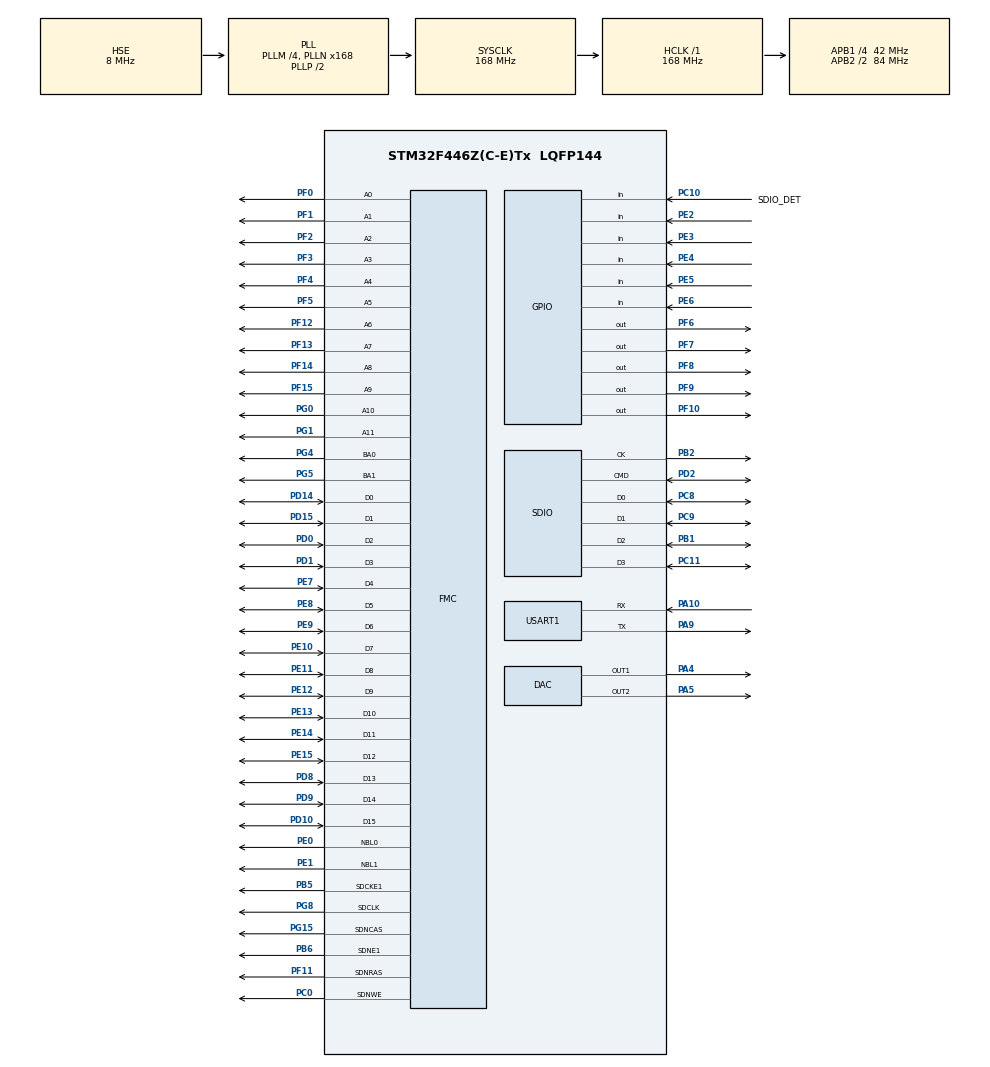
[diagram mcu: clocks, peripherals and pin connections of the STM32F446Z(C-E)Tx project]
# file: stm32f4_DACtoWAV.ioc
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DAC.DAC_Trigger2=DAC_TRIGGER_T6_TRGO
Dma.DAC2.0.Direction=DMA_MEMORY_TO_PERIPH
Dma.DAC2.0.FIFOMode=DMA_FIFOMODE_DISABLE
Dma.DAC2.0.Instance=DMA1_Stream6
Dma.DAC2.0.MemDataAlignment=DMA_MDATAALIGN_BYTE
Dma.DAC2.0.MemInc=DMA_MINC_ENABLE
Dma.DAC2.0.Mode=DMA_CIRCULAR
Dma.DAC2.0.PeriphDataAlignment=DMA_PDATAALIGN_BYTE
Dma.DAC2.0.PeriphInc=DMA_PINC_DISABLE
Dma.DAC2.0.Priority=DMA_PRIORITY_LOW
Dma.Request0=DAC2
FATFS.BSP.number=1
FATFS._MAX_SS=4096
FATFS._USE_LFN=3
FATFS0.BSP.STBoard=false
FATFS0.BSP.api=Unknown
FATFS0.BSP.i2caddr=0
FATFS0.BSP.instance=PC10
FATFS0.BSP.ip=GPIO
FATFS0.BSP.mode=Input
FATFS0.BSP.name=Detect_SDIO
FATFS0.BSP.solution=PC10
FMC.CASLatency1=FMC_SDRAM_CAS_LATENCY_3
FMC.ExitSelfRefreshDelay1=7
FMC.LoadToActiveDelay1=2
FMC.RCDDelay1=2
FMC.RPDelay1=2
FMC.RPDelay2=2
FMC.ReadPipeDelay1=FMC_SDRAM_RPIPE_DELAY_1
FMC.ReadPipeDelay2=FMC_SDRAM_RPIPE_DELAY_1
FMC.RowCycleDelay1=7
FMC.RowCycleDelay2=7
FMC.SDClockPeriod1=FMC_SDRAM_CLOCK_PERIOD_2
FMC.SDClockPeriod2=FMC_SDRAM_CLOCK_PERIOD_2
FMC.SelfRefreshTime1=4
FMC.WriteRecoveryTime1=3
Mcu.Family=STM32F4
Mcu.Name=STM32F446Z(C-E)Tx
Mcu.Package=LQFP144
NVIC.DMA1_Stream6_IRQn=true\:0\:0\:false\:false\:true\:false
NVIC.PriorityGroup=NVIC_PRIORITYGROUP_4
NVIC.TIM4_IRQn=true\:0\:0\:false\:false\:true\:true
NVIC.USART1_IRQn=true\:0\:0\:false\:false\:true\:true
PA10.Mode=Asynchronous
PA10.Signal=USART1_RX
PA4.Signal=COMP_DAC1_group
PA5.Signal=COMP_DAC2_group
PA9.Mode=Asynchronous
PA9.Signal=USART1_TX
PB1.Mode=SD_4_bits_Wide_bus
PB1.Signal=SDIO_D2
PB2.Mode=SD_4_bits_Wide_bus
PB2.Signal=SDIO_CK
PB5.Mode=SdramChipSelect2_1
PB5.Signal=FMC_SDCKE1
PB6.Mode=SdramChipSelect2_1
PB6.Signal=FMC_SDNE1
PC0.Signal=FMC_SDNWE
PC10.GPIO_Label=SDIO_DET
PC10.Signal=GPIO_Input
PC11.Mode=SD_4_bits_Wide_bus
PC11.Signal=SDIO_D3
PC8.Mode=SD_4_bits_Wide_bus
PC8.Signal=SDIO_D0
PC9.Mode=SD_4_bits_Wide_bus
PC9.Signal=SDIO_D1
PD0.Signal=FMC_D2_DA2
PD1.Signal=FMC_D3_DA3
PD10.Signal=FMC_D15_DA15
PD14.Signal=FMC_D0_DA0
PD15.Signal=FMC_D1_DA1
PD2.Mode=SD_4_bits_Wide_bus
PD2.Signal=SDIO_CMD
PD8.Signal=FMC_D13_DA13
PD9.Signal=FMC_D14_DA14
PE0.Signal=FMC_NBL0
PE1.Signal=FMC_NBL1
PE10.Signal=FMC_D7_DA7
PE11.Signal=FMC_D8_DA8
PE12.Signal=FMC_D9_DA9
PE13.Signal=FMC_D10_DA10
PE14.Signal=FMC_D11_DA11
PE15.Signal=FMC_D12_DA12
PE2.Signal=GPIO_Input
PE3.Signal=GPIO_Input
PE4.Signal=GPIO_Input
PE5.Signal=GPIO_Input
PE6.Signal=GPIO_Input
PE7.Signal=FMC_D4_DA4
PE8.Signal=FMC_D5_DA5
PE9.Signal=FMC_D6_DA6
PF0.Signal=FMC_A0
PF1.Signal=FMC_A1
PF10.Signal=GPIO_Output
PF11.Signal=FMC_SDNRAS
PF12.Signal=FMC_A6
PF13.Signal=FMC_A7
PF14.Signal=FMC_A8
PF15.Signal=FMC_A9
PF2.Signal=FMC_A2
PF3.Signal=FMC_A3
PF4.Signal=FMC_A4
PF5.Signal=FMC_A5
PF6.Signal=GPIO_Output
PF7.Signal=GPIO_Output
PF8.Signal=GPIO_Output
PF9.Signal=GPIO_Output
PG0.Signal=FMC_A10
PG1.Signal=FMC_A11
PG15.Signal=FMC_SDNCAS
PG4.Signal=FMC_A14_BA0
PG5.Signal=FMC_A15_BA1
PG8.Signal=FMC_SDCLK
PH0-OSC_IN.Mode=HSE-External-Oscillator
PH0-OSC_IN.Signal=RCC_OSC_IN
PH1-OSC_OUT.Mode=HSE-External-Oscillator
PH1-OSC_OUT.Signal=RCC_OSC_OUT
ProjectManager.HeapSize=0x2000
ProjectManager.StackSize=0x4000
ProjectManager.TargetToolchain=TrueSTUDIO
RCC.AHBFreq_Value=168000000
RCC.APB1CLKDivider=RCC_HCLK_DIV4
RCC.APB1Freq_Value=42000000
RCC.APB1TimFreq_Value=84000000
RCC.APB2CLKDivider=RCC_HCLK_DIV2
RCC.APB2Freq_Value=84000000
RCC.APB2TimFreq_Value=168000000
RCC.CortexFreq_Value=168000000
RCC.HCLKFreq_Value=168000000
RCC.HSE_VALUE=8000000
RCC.PLLM=4
RCC.PLLN=168
RCC.PLLQ=7
RCC.PLLSourceVirtual=RCC_PLLSOURCE_HSE
RCC.SYSCLKFreq_VALUE=168000000
RCC.SYSCLKSource=RCC_SYSCLKSOURCE_PLLCLK
RCC.USBFreq_Value=48000000
RCC.VCOOutputFreq_Value=336000000
SH.COMP_DAC1_group.0=DAC_OUT1,DAC_OUT1
SH.COMP_DAC2_group.0=DAC_OUT2,DAC_OUT2
SH.FMC_A0.0=FMC_A0,12b-sda1
SH.FMC_A1.0=FMC_A1,12b-sda1
SH.FMC_A10.0=FMC_A10,12b-sda1
SH.FMC_A11.0=FMC_A11,12b-sda1
SH.FMC_A14_BA0.0=FMC_BA0,FourSdramBanks1
SH.FMC_A15_BA1.0=FMC_BA1,FourSdramBanks1
SH.FMC_A2.0=FMC_A2,12b-sda1
SH.FMC_A3.0=FMC_A3,12b-sda1
SH.FMC_A4.0=FMC_A4,12b-sda1
SH.FMC_A5.0=FMC_A5,12b-sda1
SH.FMC_A6.0=FMC_A6,12b-sda1
SH.FMC_A7.0=FMC_A7,12b-sda1
SH.FMC_A8.0=FMC_A8,12b-sda1
SH.FMC_A9.0=FMC_A9,12b-sda1
SH.FMC_D0_DA0.0=FMC_D0,sd-16b-d1
SH.FMC_D10_DA10.0=FMC_D10,sd-16b-d1
SH.FMC_D11_DA11.0=FMC_D11,sd-16b-d1
SH.FMC_D12_DA12.0=FMC_D12,sd-16b-d1
SH.FMC_D13_DA13.0=FMC_D13,sd-16b-d1
SH.FMC_D14_DA14.0=FMC_D14,sd-16b-d1
SH.FMC_D15_DA15.0=FMC_D15,sd-16b-d1
SH.FMC_D1_DA1.0=FMC_D1,sd-16b-d1
SH.FMC_D2_DA2.0=FMC_D2,sd-16b-d1
SH.FMC_D3_DA3.0=FMC_D3,sd-16b-d1
SH.FMC_D4_DA4.0=FMC_D4,sd-16b-d1
SH.FMC_D5_DA5.0=FMC_D5,sd-16b-d1
SH.FMC_D6_DA6.0=FMC_D6,sd-16b-d1
SH.FMC_D7_DA7.0=FMC_D7,sd-16b-d1
SH.FMC_D8_DA8.0=FMC_D8,sd-16b-d1
SH.FMC_D9_DA9.0=FMC_D9,sd-16b-d1
SH.FMC_NBL0.0=FMC_NBL0,Sd2ByteEnable1
SH.FMC_NBL1.0=FMC_NBL1,Sd2ByteEnable1
SH.FMC_SDCLK.0=FMC_SDCLK,12b-sda1
SH.FMC_SDNCAS.0=FMC_SDNCAS,12b-sda1
SH.FMC_SDNRAS.0=FMC_SDNRAS,12b-sda1
SH.FMC_SDNWE.0=FMC_SDNWE,12b-sda1
TIM4.Period=20-1
TIM4.Prescaler=19-1
TIM6.Period=10-1
TIM6.Prescaler=84-1
TIM6.TIM_MasterOutputTrigger=TIM_TRGO_UPDATE
USART1.VirtualMode=VM_ASYNC
VP_FATFS_VS_SDIO.Mode=SDIO
VP_TIM4_VS_ClockSourceINT.Mode=Internal
VP_TIM6_VS_ClockSourceINT.Mode=Enable_Timer
board=custom

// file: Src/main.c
/* USER CODE BEGIN Header */
/**
  ******************************************************************************
  * @file           : main.c
  * @brief          : Main program body
  ******************************************************************************
  * This notice applies to any and all portions of this file
  * that are not between comment pairs USER CODE BEGIN and
  * USER CODE END. Other portions of this file, whether
  * inserted by the user or by software development tools
  * are owned by their respective copyright owners.
  *
  * Copyright (c) 2019 STMicroelectronics International N.V.
  * All rights reserved.
  *
  * Redistribution and use in source and binary forms, with or without
  * modification, are permitted, provided that the following conditions are met:
  *
  * 1. Redistribution of source code must retain the above copyright notice,
  *    this list of conditions and the following disclaimer.
  * 2. Redistributions in binary form must reproduce the above copyright notice,
  *    this list of conditions and the following disclaimer in the documentation
  *    and/or other materials provided with the distribution.
  * 3. Neither the name of STMicroelectronics nor the names of other
  *    contributors to this software may be used to endorse or promote products
  *    derived from this software without specific written permission.
  * 4. This software, including modifications and/or derivative works of this
  *    software, must execute solely and exclusively on microcontroller or
  *    microprocessor devices manufactured by or for STMicroelectronics.
  * 5. Redistribution and use of this software other than as permitted under
  *    this license is void and will automatically terminate your rights under
  *    this license.
  *
  * THIS SOFTWARE IS PROVIDED BY STMICROELECTRONICS AND CONTRIBUTORS "AS IS"
  * AND ANY EXPRESS, IMPLIED OR STATUTORY WARRANTIES, INCLUDING, BUT NOT
  * LIMITED TO, THE IMPLIED WARRANTIES OF MERCHANTABILITY, FITNESS FOR A
  * PARTICULAR PURPOSE AND NON-INFRINGEMENT OF THIRD PARTY INTELLECTUAL PROPERTY
  * RIGHTS ARE DISCLAIMED TO THE FULLEST EXTENT PERMITTED BY LAW. IN NO EVENT
  * SHALL STMICROELECTRONICS OR CONTRIBUTORS BE LIABLE FOR ANY DIRECT, INDIRECT,
  * INCIDENTAL, SPECIAL, EXEMPLARY, OR CONSEQUENTIAL DAMAGES (INCLUDING, BUT NOT
  * LIMITED TO, PROCUREMENT OF SUBSTITUTE GOODS OR SERVICES; LOSS OF USE, DATA,
  * OR PROFITS; OR BUSINESS INTERRUPTION) HOWEVER CAUSED AND ON ANY THEORY OF
  * LIABILITY, WHETHER IN CONTRACT, STRICT LIABILITY, OR TORT (INCLUDING
  * NEGLIGENCE OR OTHERWISE) ARISING IN ANY WAY OUT OF THE USE OF THIS SOFTWARE,
  * EVEN IF ADVISED OF THE POSSIBILITY OF SUCH DAMAGE.
  *
  ******************************************************************************
  */
/* USER CODE END Header */

#include "main.h"
#include "fatfs.h"

/* USER CODE BEGIN Includes */
#include <string.h>
#include <stdlib.h>
#include "EMbed_GPIO_General.h"
#include "uart_general.h"

#include "sd_user_code.h"
#include "Drv_SDRAM.h"
#include "WaveHader.h"

/* USER CODE END Includes */

DAC_HandleTypeDef hdac;
DMA_HandleTypeDef hdma_dac2;

SD_HandleTypeDef hsd;

TIM_HandleTypeDef htim4;
TIM_HandleTypeDef htim6;

UART_HandleTypeDef huart1;

SDRAM_HandleTypeDef hsdram1;

/* USER CODE BEGIN PV */
unsigned int Tim4Cnt = 0;
int mainTestArr[100] = {0,};
char mainTestStr[64] = {0,};
int indexDAC = 0;
/* USER CODE END PV */

void SystemClock_Config(void);
static void MX_GPIO_Init(void);
static void MX_DMA_Init(void);
static void MX_DAC_Init(void);
static void MX_USART1_UART_Init(void);
static void MX_SDIO_SD_Init(void);
static void MX_TIM4_Init(void);
static void MX_TIM6_Init(void);
static void MX_FMC_Init(void);

/* USER CODE BEGIN 0 */
void HAL_TIM_PeriodElapsedCallback(TIM_HandleTypeDef *htim)
{

	if(htim->Instance == TIM4){
//		Tim4Cnt++;
//
//		if(Tim4Cnt >= 10){

			if(indexDAC >= 100){
				indexDAC = 0;
			}
			HAL_DAC_SetValue(&hdac, DAC_CHANNEL_2, DAC_ALIGN_12B_R, mainTestArr[indexDAC]);
			indexDAC++;
//			Tim4Cnt = 0;
//		}
	}
}
/* USER CODE END 0 */

int main(void)
{

  /* MCU Configuration--------------------------------------------------------*/

  /* Reset of all peripherals, Initializes the Flash interface and the Systick. */
  HAL_Init();

  /* Configure the system clock */
  SystemClock_Config();

  /* Initialize all configured peripherals */
  MX_GPIO_Init();
  MX_DMA_Init();
  MX_DAC_Init();
  MX_USART1_UART_Init();
  MX_SDIO_SD_Init();
  MX_FATFS_Init();
  MX_TIM4_Init();
  MX_TIM6_Init();
  MX_FMC_Init();
  /* USER CODE BEGIN 2 */

  //uart init func
  	GENERAL_UART_IT_Init(&huart1);
  	GENERAL_UART_Variable_Init(&uart1_general);
  	GENERAL_TX_TEST(&huart1);

  //WaveFile HEADER INIT
  	WaveFile_Hdr_Var_Init(&WaveHdr);

  //Enable Timer 6
  	HAL_TIM_Base_Start(&htim6);

  	HAL_TIM_Base_Start_IT(&htim4);

  	HAL_DAC_Start(&hdac, DAC_CHANNEL_2);

  //SinWave test
  	SinWave(4096, 100, mainTestArr);

 // 	f_mount(&SDFatFS, SDPath, 1);

  //

  /* USER CODE END 2 */

  /* Infinite loop */
  /* USER CODE BEGIN WHILE */
  while (1)
  {

	  GPIO_BT_READ(&hButton);
    /* USER CODE END WHILE */

	  sd_FileWrite(myFileName, myWriteData, sizeof(myWriteData));

	  HAL_Delay(2500);
//	for(int i=0; i<100; i++){
//	//  		sprintf(mainTestStr, "%d\r\n", mainTestArr[i]);
//	//  		put_str(&huart1, mainTestStr);
//
//		HAL_DAC_SetValue(&hdac, DAC_CHANNEL_2, DAC_ALIGN_12B_R, mainTestArr[i]);
//		HAL_Delay(10);
//	}
  }
}

void SystemClock_Config(void)
{
  RCC_OscInitTypeDef RCC_OscInitStruct = {0};
  RCC_ClkInitTypeDef RCC_ClkInitStruct = {0};
  RCC_PeriphCLKInitTypeDef PeriphClkInitStruct = {0};

  /**Configure the main internal regulator output voltage
  */
  __HAL_RCC_PWR_CLK_ENABLE();
  __HAL_PWR_VOLTAGESCALING_CONFIG(PWR_REGULATOR_VOLTAGE_SCALE1);
  /**Initializes the CPU, AHB and APB busses clocks
  */
  RCC_OscInitStruct.OscillatorType = RCC_OSCILLATORTYPE_HSE;
  RCC_OscInitStruct.HSEState = RCC_HSE_ON;
  RCC_OscInitStruct.PLL.PLLState = RCC_PLL_ON;
  RCC_OscInitStruct.PLL.PLLSource = RCC_PLLSOURCE_HSE;
  RCC_OscInitStruct.PLL.PLLM = 4;
  RCC_OscInitStruct.PLL.PLLN = 168;
  RCC_OscInitStruct.PLL.PLLP = RCC_PLLP_DIV2;
  RCC_OscInitStruct.PLL.PLLQ = 7;
  RCC_OscInitStruct.PLL.PLLR = 2;
  if (HAL_RCC_OscConfig(&RCC_OscInitStruct) != HAL_OK)
  {
    Error_Handler();
  }
  /**Initializes the CPU, AHB and APB busses clocks
  */
  RCC_ClkInitStruct.ClockType = RCC_CLOCKTYPE_HCLK|RCC_CLOCKTYPE_SYSCLK
                              |RCC_CLOCKTYPE_PCLK1|RCC_CLOCKTYPE_PCLK2;
  RCC_ClkInitStruct.SYSCLKSource = RCC_SYSCLKSOURCE_PLLCLK;
  RCC_ClkInitStruct.AHBCLKDivider = RCC_SYSCLK_DIV1;
  RCC_ClkInitStruct.APB1CLKDivider = RCC_HCLK_DIV4;
  RCC_ClkInitStruct.APB2CLKDivider = RCC_HCLK_DIV2;

  if (HAL_RCC_ClockConfig(&RCC_ClkInitStruct, FLASH_LATENCY_5) != HAL_OK)
  {
    Error_Handler();
  }
  PeriphClkInitStruct.PeriphClockSelection = RCC_PERIPHCLK_SDIO|RCC_PERIPHCLK_CLK48;
  PeriphClkInitStruct.Clk48ClockSelection = RCC_CLK48CLKSOURCE_PLLQ;
  PeriphClkInitStruct.SdioClockSelection = RCC_SDIOCLKSOURCE_CLK48;
  if (HAL_RCCEx_PeriphCLKConfig(&PeriphClkInitStruct) != HAL_OK)
  {
    Error_Handler();
  }
}

static void MX_DAC_Init(void)
{

  DAC_ChannelConfTypeDef sConfig = {0};

  /**DAC Initialization
  */
  hdac.Instance = DAC;
  if (HAL_DAC_Init(&hdac) != HAL_OK)
  {
    Error_Handler();
  }
  /**DAC channel OUT1 config
  */
  sConfig.DAC_Trigger = DAC_TRIGGER_NONE;
  sConfig.DAC_OutputBuffer = DAC_OUTPUTBUFFER_ENABLE;
  if (HAL_DAC_ConfigChannel(&hdac, &sConfig, DAC_CHANNEL_1) != HAL_OK)
  {
    Error_Handler();
  }
  /**DAC channel OUT2 config
  */
  sConfig.DAC_Trigger = DAC_TRIGGER_T6_TRGO;
  if (HAL_DAC_ConfigChannel(&hdac, &sConfig, DAC_CHANNEL_2) != HAL_OK)
  {
    Error_Handler();
  }

}

static void MX_SDIO_SD_Init(void)
{

  hsd.Instance = SDIO;
  hsd.Init.ClockEdge = SDIO_CLOCK_EDGE_RISING;
  hsd.Init.ClockBypass = SDIO_CLOCK_BYPASS_DISABLE;
  hsd.Init.ClockPowerSave = SDIO_CLOCK_POWER_SAVE_DISABLE;
  hsd.Init.BusWide = SDIO_BUS_WIDE_1B;
  hsd.Init.HardwareFlowControl = SDIO_HARDWARE_FLOW_CONTROL_DISABLE;
  hsd.Init.ClockDiv = 0;

}

static void MX_TIM4_Init(void)
{

  TIM_ClockConfigTypeDef sClockSourceConfig = {0};
  TIM_MasterConfigTypeDef sMasterConfig = {0};

  htim4.Instance = TIM4;
  htim4.Init.Prescaler = 19-1;
  htim4.Init.CounterMode = TIM_COUNTERMODE_UP;
  htim4.Init.Period = 20-1;
  htim4.Init.ClockDivision = TIM_CLOCKDIVISION_DIV1;
  if (HAL_TIM_Base_Init(&htim4) != HAL_OK)
  {
    Error_Handler();
  }
  sClockSourceConfig.ClockSource = TIM_CLOCKSOURCE_INTERNAL;
  if (HAL_TIM_ConfigClockSource(&htim4, &sClockSourceConfig) != HAL_OK)
  {
    Error_Handler();
  }
  sMasterConfig.MasterOutputTrigger = TIM_TRGO_RESET;
  sMasterConfig.MasterSlaveMode = TIM_MASTERSLAVEMODE_DISABLE;
  if (HAL_TIMEx_MasterConfigSynchronization(&htim4, &sMasterConfig) != HAL_OK)
  {
    Error_Handler();
  }

}

static void MX_TIM6_Init(void)
{

  TIM_MasterConfigTypeDef sMasterConfig = {0};

  htim6.Instance = TIM6;
  htim6.Init.Prescaler = 84-1;
  htim6.Init.CounterMode = TIM_COUNTERMODE_UP;
  htim6.Init.Period = 10-1;
  if (HAL_TIM_Base_Init(&htim6) != HAL_OK)
  {
    Error_Handler();
  }
  sMasterConfig.MasterOutputTrigger = TIM_TRGO_UPDATE;
  sMasterConfig.MasterSlaveMode = TIM_MASTERSLAVEMODE_DISABLE;
  if (HAL_TIMEx_MasterConfigSynchronization(&htim6, &sMasterConfig) != HAL_OK)
  {
    Error_Handler();
  }

}

static void MX_USART1_UART_Init(void)
{

  huart1.Instance = USART1;
  huart1.Init.BaudRate = 115200;
  huart1.Init.WordLength = UART_WORDLENGTH_8B;
  huart1.Init.StopBits = UART_STOPBITS_1;
  huart1.Init.Parity = UART_PARITY_NONE;
  huart1.Init.Mode = UART_MODE_TX_RX;
  huart1.Init.HwFlowCtl = UART_HWCONTROL_NONE;
  huart1.Init.OverSampling = UART_OVERSAMPLING_16;
  if (HAL_UART_Init(&huart1) != HAL_OK)
  {
    Error_Handler();
  }

}

static void MX_DMA_Init(void)
{
  /* DMA controller clock enable */
  __HAL_RCC_DMA1_CLK_ENABLE();

  /* DMA interrupt init */
  /* DMA1_Stream6_IRQn interrupt configuration */
  HAL_NVIC_SetPriority(DMA1_Stream6_IRQn, 0, 0);
  HAL_NVIC_EnableIRQ(DMA1_Stream6_IRQn);

}
/* FMC initialization function */
static void MX_FMC_Init(void)
{
  FMC_SDRAM_TimingTypeDef SdramTiming;

  /** Perform the SDRAM1 memory initialization sequence
  */
  hsdram1.Instance = FMC_SDRAM_DEVICE;
  /* hsdram1.Init */
  hsdram1.Init.SDBank = FMC_SDRAM_BANK2;
  hsdram1.Init.ColumnBitsNumber = FMC_SDRAM_COLUMN_BITS_NUM_8;
  hsdram1.Init.RowBitsNumber = FMC_SDRAM_ROW_BITS_NUM_12;
  hsdram1.Init.MemoryDataWidth = FMC_SDRAM_MEM_BUS_WIDTH_16;
  hsdram1.Init.InternalBankNumber = FMC_SDRAM_INTERN_BANKS_NUM_4;
  hsdram1.Init.CASLatency = FMC_SDRAM_CAS_LATENCY_3;
  hsdram1.Init.WriteProtection = FMC_SDRAM_WRITE_PROTECTION_DISABLE;
  hsdram1.Init.SDClockPeriod = FMC_SDRAM_CLOCK_PERIOD_2;
  hsdram1.Init.ReadBurst = FMC_SDRAM_RBURST_DISABLE;
  hsdram1.Init.ReadPipeDelay = FMC_SDRAM_RPIPE_DELAY_1;
  /* SdramTiming */
  SdramTiming.LoadToActiveDelay = 2;
  SdramTiming.ExitSelfRefreshDelay = 7;
  SdramTiming.SelfRefreshTime = 4;
  SdramTiming.RowCycleDelay = 7;
  SdramTiming.WriteRecoveryTime = 3;
  SdramTiming.RPDelay = 2;
  SdramTiming.RCDDelay = 2;

  if (HAL_SDRAM_Init(&hsdram1, &SdramTiming) != HAL_OK)
  {
    Error_Handler( );
  }

}

static void MX_GPIO_Init(void)
{
  GPIO_InitTypeDef GPIO_InitStruct = {0};

  /* GPIO Ports Clock Enable */
  __HAL_RCC_GPIOE_CLK_ENABLE();
  __HAL_RCC_GPIOF_CLK_ENABLE();
  __HAL_RCC_GPIOH_CLK_ENABLE();
  __HAL_RCC_GPIOC_CLK_ENABLE();
  __HAL_RCC_GPIOA_CLK_ENABLE();
  __HAL_RCC_GPIOB_CLK_ENABLE();
  __HAL_RCC_GPIOG_CLK_ENABLE();
  __HAL_RCC_GPIOD_CLK_ENABLE();

  /*Configure GPIO pin Output Level */
  HAL_GPIO_WritePin(GPIOF, GPIO_PIN_6|GPIO_PIN_7|GPIO_PIN_8|GPIO_PIN_9
                          |GPIO_PIN_10, GPIO_PIN_RESET);

  /*Configure GPIO pins : PE2 PE3 PE4 PE5
                           PE6 */
  GPIO_InitStruct.Pin = GPIO_PIN_2|GPIO_PIN_3|GPIO_PIN_4|GPIO_PIN_5
                          |GPIO_PIN_6;
  GPIO_InitStruct.Mode = GPIO_MODE_INPUT;
  GPIO_InitStruct.Pull = GPIO_NOPULL;
  HAL_GPIO_Init(GPIOE, &GPIO_InitStruct);

  /*Configure GPIO pins : PF6 PF7 PF8 PF9
                           PF10 */
  GPIO_InitStruct.Pin = GPIO_PIN_6|GPIO_PIN_7|GPIO_PIN_8|GPIO_PIN_9
                          |GPIO_PIN_10;
  GPIO_InitStruct.Mode = GPIO_MODE_OUTPUT_PP;
  GPIO_InitStruct.Pull = GPIO_NOPULL;
  GPIO_InitStruct.Speed = GPIO_SPEED_FREQ_LOW;
  HAL_GPIO_Init(GPIOF, &GPIO_InitStruct);

  /*Configure GPIO pin : SDIO_DET_Pin */
  GPIO_InitStruct.Pin = SDIO_DET_Pin;
  GPIO_InitStruct.Mode = GPIO_MODE_INPUT;
  GPIO_InitStruct.Pull = GPIO_NOPULL;
  HAL_GPIO_Init(SDIO_DET_GPIO_Port, &GPIO_InitStruct);

}

void Error_Handler(void)
{
}

/************************ (C) COPYRIGHT STMicroelectronics *****END OF FILE****/
